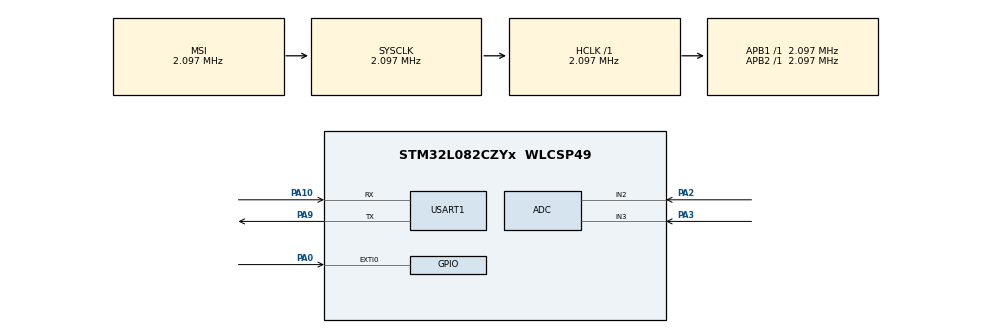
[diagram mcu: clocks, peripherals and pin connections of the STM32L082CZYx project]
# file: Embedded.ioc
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ADC.ClockPrescaler=ADC_CLOCK_ASYNC_DIV1
ADC.ContinuousConvMode=DISABLE
Mcu.Family=STM32L0
Mcu.Name=STM32L082CZYx
Mcu.Package=WLCSP49
PA0.Signal=GPXTI0
PA10.Mode=Asynchronous
PA10.Signal=USART1_RX
PA2.Mode=IN2
PA2.Signal=ADC_IN2
PA3.Mode=IN3
PA3.Signal=ADC_IN3
PA9.Mode=Asynchronous
PA9.Signal=USART1_TX
ProjectManager.HeapSize=0x200
ProjectManager.StackSize=0x400
ProjectManager.TargetToolchain=STM32CubeIDE
RCC.AHBFreq_Value=2097000
RCC.APB1Freq_Value=2097000
RCC.APB1TimFreq_Value=2097000
RCC.APB2Freq_Value=2097000
RCC.APB2TimFreq_Value=2097000
RCC.HSE_VALUE=8000000
RCC.HSI16_VALUE=16000000
RCC.HSI48_VALUE=48000000
RCC.HSI_VALUE=16000000
RCC.LSE_VALUE=32768
RCC.MSI_VALUE=2097000
RCC.SYSCLKFreq_VALUE=2097000
RCC.VCOOutputFreq_Value=48000000
USART1.VirtualMode-Asynchronous=VM_ASYNC
board=custom

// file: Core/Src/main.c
/* USER CODE BEGIN Header */
/**
  ******************************************************************************
  * @file           : main.c
  * @brief          : Main program body
  ******************************************************************************
  * @attention
  *
  * Copyright (c) 2026 STMicroelectronics.
  * All rights reserved.
  *
  * This software is licensed under terms that can be found in the LICENSE file
  * in the root directory of this software component.
  * If no LICENSE file comes with this software, it is provided AS-IS.
  *
  ******************************************************************************
  */
/* USER CODE END Header */
#include "main.h"

/* USER CODE BEGIN Includes */
#include "app_lorawan.h"
#include "lora_app.h"
#include "adc.h"
#include "usart.h"
#include "sys_app.h"
#include <stdio.h>
#include <string.h>
#include <stdlib.h>

#include "cmwx1zzabz_0xx.h"
/* USER CODE END Includes */

/* USER CODE BEGIN PD */
//static void uart_print(const char *s);

/* USER CODE END PD */

//ADC_HandleTypeDef hadc;

//I2C_HandleTypeDef hi2c1;

UART_HandleTypeDef huart1;

/* USER CODE BEGIN PV */
uint32_t adc_vals_prev [2];
uint32_t open_angle, closed_angle;
Angle_Return angle_reading;
CALIBRATION_STAGE calibration_stage;
ROTATION_DIRECTION rot_dir;

int lower_bound_angle = 0;
int upper_bound_angle = 90;

int one_time_send = 0;

/* USER CODE END PV */

void SystemClock_Config(void);
void Cap_Sense_Init(void);

/* USER CODE BEGIN 0 */

static void uart_print(const char *s)
{
  HAL_UART_Transmit(&huart1, (uint8_t *)s, (uint16_t)strlen(s), HAL_MAX_DELAY);
}
/* USER CODE END 0 */

int main(void)
{

  /* MCU Configuration--------------------------------------------------------*/

  /* Reset of all peripherals, Initializes the Flash interface and the Systick. */
  HAL_Init();

  /* USER CODE BEGIN Init */
  RTC_IF_Init();
  /* USER CODE END Init */

  /* Configure the system clock */
  SystemClock_Config();

  MX_LoRaWAN_Init();

  /* Initialize all configured peripherals */
  MX_ADC_Init();
  MX_USART1_UART_Init();
  MX_ADC_Init();
  MX_USART1_UART_Init();
  BSP_I2C1_Init();
  Cap_Sense_Init();
  Haptic_Init();
  /* USER CODE BEGIN 2 */
  (void)HAL_ADC_Start(&hadc);

  //initialize previous values
  adc_vals_prev[0] = 0;
  adc_vals_prev[1] = 0;
  calibration_stage = CALIB_OPEN;

  APP_LOG(TS_ON, VLEVEL_L, "Attempting to join LoRaWAN...\r\n");

  while(join_flag == 0){
	  MX_LoRaWAN_Process();
  }
  /* USER CODE END 2 */

  APP_LOG(TS_ON, VLEVEL_L, "Awaiting Calibration\r\n");
  Calibrate_Function();

  //int angle = angle_reading.angle_val;

  /* USER CODE BEGIN WHILE */
  one_time_send = 1;
  while (1)
  {
    /* USER CODE END WHILE */

    /* USER CODE BEGIN 3 */
	MX_LoRaWAN_Process();

  }
  /* USER CODE END 3 */
}

void SystemClock_Config(void)
{
  RCC_OscInitTypeDef RCC_OscInitStruct = {0};
  RCC_ClkInitTypeDef RCC_ClkInitStruct = {0};
  RCC_PeriphCLKInitTypeDef PeriphClkInit = {0};

  /** Configure the main internal regulator output voltage
  */
  __HAL_PWR_VOLTAGESCALING_CONFIG(PWR_REGULATOR_VOLTAGE_SCALE1);

  /** Initializes the RCC Oscillators according to the specified parameters
  * in the RCC_OscInitTypeDef structure.
  */
  RCC_OscInitStruct.OscillatorType = RCC_OSCILLATORTYPE_HSI|RCC_OSCILLATORTYPE_MSI;
  RCC_OscInitStruct.HSIState = RCC_HSI_ON;
  RCC_OscInitStruct.HSICalibrationValue = RCC_HSICALIBRATION_DEFAULT;
  RCC_OscInitStruct.MSIState = RCC_MSI_ON;
  RCC_OscInitStruct.MSICalibrationValue = 0;
  RCC_OscInitStruct.MSIClockRange = RCC_MSIRANGE_5;
  RCC_OscInitStruct.PLL.PLLState = RCC_PLL_NONE;
  if (HAL_RCC_OscConfig(&RCC_OscInitStruct) != HAL_OK)
  {
    Error_Handler();
  }

  /** Initializes the CPU, AHB and APB buses clocks
  */
  RCC_ClkInitStruct.ClockType = RCC_CLOCKTYPE_HCLK|RCC_CLOCKTYPE_SYSCLK
                              |RCC_CLOCKTYPE_PCLK1|RCC_CLOCKTYPE_PCLK2;
  RCC_ClkInitStruct.SYSCLKSource = RCC_SYSCLKSOURCE_MSI;
  RCC_ClkInitStruct.AHBCLKDivider = RCC_SYSCLK_DIV1;
  RCC_ClkInitStruct.APB1CLKDivider = RCC_HCLK_DIV1;
  RCC_ClkInitStruct.APB2CLKDivider = RCC_HCLK_DIV1;

  if (HAL_RCC_ClockConfig(&RCC_ClkInitStruct, FLASH_LATENCY_0) != HAL_OK)
  {
    Error_Handler();
  }
  PeriphClkInit.PeriphClockSelection = RCC_PERIPHCLK_USART1|RCC_PERIPHCLK_I2C1;
  PeriphClkInit.Usart1ClockSelection = RCC_USART1CLKSOURCE_PCLK2;
  if (HAL_RCCEx_PeriphCLKConfig(&PeriphClkInit) != HAL_OK)
  {
    Error_Handler();
  }
}

/* USER CODE BEGIN 4 */

void Cap_Sense_Init(void)
{
	GPIO_InitTypeDef GPIO_InitStruct = {0};

	GPIO_InitStruct.Pin = CAP_SENSE_PIN;
	GPIO_InitStruct.Mode = GPIO_MODE_INPUT;
	GPIO_InitStruct.Pull = GPIO_PULLUP;

	HAL_GPIO_Init(CAP_SENSE_PORT, &GPIO_InitStruct);
}

void Haptic_Write(uint8_t reg, uint8_t val)
{
    HAL_I2C_Mem_Write(&hi2c1, HAPTIC_ADDR, reg, 1, &val, 1, HAL_MAX_DELAY);
}

uint8_t Haptic_Read(uint8_t reg)
{
	uint8_t temp;
    HAL_I2C_Mem_Read(&hi2c1, HAPTIC_ADDR, reg, 1, &temp, 1, HAL_MAX_DELAY);
    return temp;
}

void Haptic_Init(){
	//
	uint8_t rev = Haptic_Read(0x00);

	// Write the full-scale of unsigned haptic waveform
	Haptic_Write(0x0C, 1.8f / (23.4e-3f));

	// Write the absolute actuator maximum voltage rating
	Haptic_Write(0x0D, 2.616f / (23.4e-3f));

	// Write the actuator max current rating
	float currMax = 90.0f; // mA
	uint8_t scaledCurrMax = (currMax - 28.6f) / 7.2f;
	Haptic_Write(0x0E, scaledCurrMax);

	// Write the value for translating actuator impedance to output voltage drive level
	float impedance = 40.0f; // Ohms
	uint16_t v2iFactor = (impedance * (scaledCurrMax + 4)) / 1.6104f;
	uint8_t v2iFactor_h = (v2iFactor >> 8) & 0xFF;
	uint8_t v2iFactor_l = v2iFactor & 0xFF;
	Haptic_Write(0x0F, v2iFactor_h);
	Haptic_Write(0x10, v2iFactor_l);

	// Specify the LRA drive frequency
	float lraFreq = 235.0f; // Hz
	uint16_t lraPeriod = 1 / (lraFreq * (1333.32e-9f));
	uint8_t lraPeriod_h = (lraPeriod >> 7) & 0xFF;
	uint8_t lraPeriod_l = lraPeriod & 0x7F;
	Haptic_Write(0x0A, lraPeriod_h);
	Haptic_Write(0x0B, lraPeriod_l);

	// Set to DRO mode (12C)
	Haptic_Write(0x22, 0x01);

	// Set UVLO threshold to 2.7 V
	Haptic_Write(0x5F, 0);

	// Clear all flags
	Haptic_Write(0x03, 0xFF);
}

void Vibrate(uint8_t val)
{
	Haptic_Write(0x23, val);
}

void Calibrate_Function(){

	//2 quick buzzes
	Vibrate(50);
	HAL_Delay(300);
	Vibrate(0);
	HAL_Delay(300);
	Vibrate(50);
	HAL_Delay(300);
	Vibrate(0);

	GPIO_PinState not_touched = HAL_GPIO_ReadPin(CAP_SENSE_PORT, CAP_SENSE_PIN);

	/*Bad way of getting an occasional vibration... Bruh, this works surprisingly well...
		I added a recurring vibration because no one wants to be standing around for
		who knows how long for the device to connect... This lets them know it's ready
		when they come check on it.
	*/
	int wait_counter = 0;
	while(not_touched){ //wait for touch
		not_touched = HAL_GPIO_ReadPin(CAP_SENSE_PORT, CAP_SENSE_PIN);
		wait_counter += 1;
		if(wait_counter == 100000){
			//2 quick buzzes
			Vibrate(50);
			HAL_Delay(300);
			Vibrate(0);
			HAL_Delay(300);
			Vibrate(50);
			HAL_Delay(300);
			Vibrate(0);

			wait_counter = 0;
		}
	}
	Read_Angle_Sensor();
	Vibrate(50);
	HAL_Delay(500);
	Vibrate(0);
	HAL_Delay(5000);

	calibration_stage = CALIB_CLOSED;
	not_touched = HAL_GPIO_ReadPin(CAP_SENSE_PORT, CAP_SENSE_PIN);
	while(not_touched){ //wait for touch
	  not_touched = HAL_GPIO_ReadPin(CAP_SENSE_PORT, CAP_SENSE_PIN);
	}
	Read_Angle_Sensor();

	Vibrate(50);
	HAL_Delay(500);
	Vibrate(0);

	HAL_Delay(1000);

	Vibrate(50);
	HAL_Delay(1000);
	Vibrate(0);
	HAL_Delay(500);
	Vibrate(50);
	HAL_Delay(1000);
	Vibrate(0);

	calibration_stage = CALIB_DONE;
}

uint32_t read_adc_channel(uint32_t channel)
{
	// Making sure channel select works as intended
    HAL_ADC_Stop(&hadc);

    // Stop reading from channel
    ADC1->CHSELR = 0;

    // Select next channel
    if (channel == ADC_CHANNEL_2)
        ADC1->CHSELR |= ADC_CHSELR_CHSEL2;
    else if (channel == ADC_CHANNEL_3)
        ADC1->CHSELR |= ADC_CHSELR_CHSEL3;

    // Read from current channel
    HAL_ADC_Start(&hadc);
    HAL_ADC_PollForConversion(&hadc, HAL_MAX_DELAY);

    // Get value form ADC
    uint32_t val = HAL_ADC_GetValue(&hadc);

    // Stop reading from ADC
    HAL_ADC_Stop(&hadc);

    return val;
}

void Read_Angle_Sensor(){
	uint16_t adc_values[2];

    // Channel 2
	adc_values[0] = (uint32_t)read_adc_channel(ADC_CHANNEL_2);
	// Channel 3
	adc_values[1] = (uint32_t)read_adc_channel(ADC_CHANNEL_3);

	char msg[64];
	snprintf(msg, sizeof(msg), "adc0=%d adc1=%d\r\n", adc_values[0], adc_values[1]);
	APP_LOG(TS_ON, VLEVEL_L, msg);

    // If values don't pass thresholds and not in calibration mode
    if(adc_values[0] < adc_vals_prev[0] + 50 && adc_values[0] > adc_vals_prev[0] - 50 && adc_values[1] < adc_vals_prev[1] + 50 && adc_values[1] > adc_vals_prev[1] - 50 && calibration_stage == 0){
    	//angle_reading.angle_val = 0;
        angle_reading.changed = 0;
        return;
    }

	// Angle calculation - normalize ADC values as sensor readings are offset by VDD/2
    // This corresponds to ADC values being half of ADC max (2048) higher than we want
	int cos = adc_values[0] - 2048;
	int sin = adc_values[1] - 2048;

    // Convert to degrees and make positive
	float angle = (atan2f(sin, cos) * 180/M_PI) + 180;

    // If not in calibration stage, send normalized value to server
	if(calibration_stage == CALIB_DONE){
      if(rot_dir == CW){
    	angle = ((angle - closed_angle)/(open_angle-closed_angle)) * 90;
    	angle_reading.angle_val = angle;
        //angle_reading.angle_val =  angle - closed_angle;
      }
      else if(rot_dir == CCW){
    	angle = ((closed_angle - angle)/(closed_angle-open_angle)) * 90;
    	angle_reading.angle_val = angle;
        //angle_reading.angle_val = -1 * (angle - closed_angle);
      }
      else if(rot_dir == CW_OVF){
        if(angle < 180){
          angle += 360;
        }
    	angle = ((angle - closed_angle)/((open_angle + 360)-closed_angle)) * 90;;
        angle_reading.angle_val = angle;
        //angle_reading.angle_val = angle - closed_angle;
      }
      else if(rot_dir == CCW_OVF){
        if(angle > 180){
          angle -= 360;
        }
        angle = ((closed_angle - angle)/(closed_angle - (open_angle - 360))) * 90;
        angle_reading.angle_val = angle;
        //angle_reading.angle_val = -1 * (angle - closed_angle);
      }
	  angle_reading.changed = 1;

      adc_vals_prev[0] = adc_values[0];
	  adc_vals_prev[1] = adc_values[1];
	  snprintf(msg, sizeof(msg), "angle=%d\r\n", angle_reading.angle_val);
	}
    // If in calibration, take open and closed values
	else if(calibration_stage == CALIB_OPEN){
	  open_angle = angle;
	}
	else if(calibration_stage == CALIB_CLOSED){
	  closed_angle = angle;

      if(closed_angle < open_angle){
        if(open_angle - closed_angle > 180){ // CCW overflow
            rot_dir = CCW_OVF;
        }
        else {
          rot_dir = CW;
        }
      } else{
        if(closed_angle - open_angle > 180){ // CW overflow
          rot_dir = CW_OVF;
        }
        else{
          rot_dir = CCW;
        }
      }
	}
	APP_LOG(TS_ON, VLEVEL_L, msg);

	return;
}

/* USER CODE END 4 */

void Error_Handler(void)
{
  __disable_irq();
  while (1)
  {
  }
}
